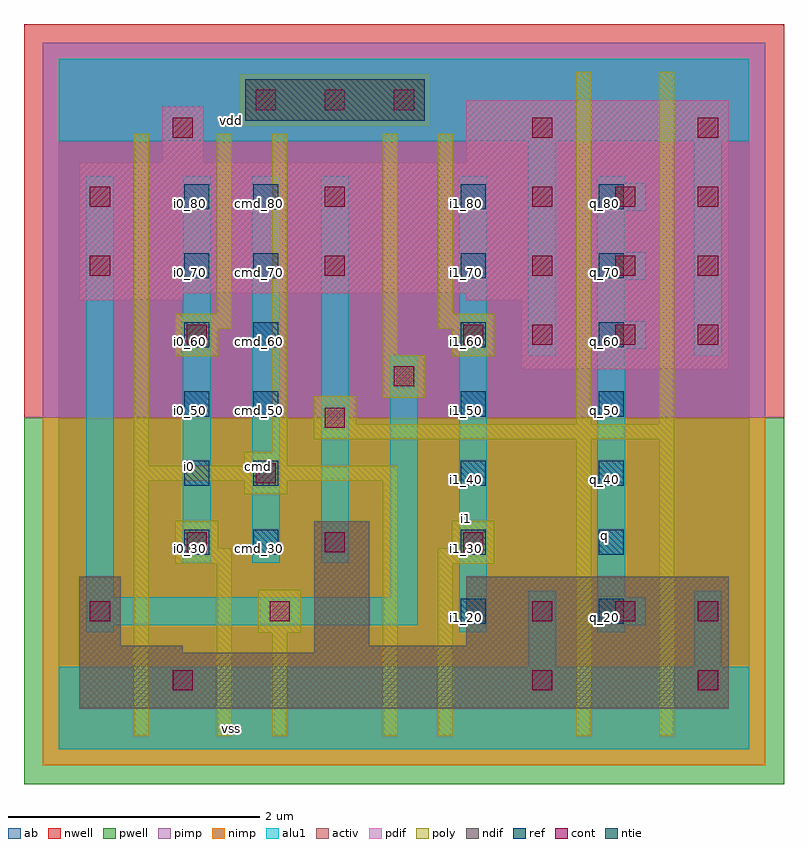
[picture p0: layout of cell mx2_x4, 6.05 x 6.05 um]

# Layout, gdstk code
import gdstk
lib = gdstk.Library(unit=1e-6, precision=2.5e-09)
def R(c, l, rs):  # rectangles x0, y0, x1, y1
    for r in rs: c.add(gdstk.rectangle(r[:2], r[2:], *l))
def A(c, l, x, y, w, h, nx, ny, dx, dy):  # array of equal rectangles
    R(c, l, [(x+i*dx, y+j*dy, x+i*dx+w, y+j*dy+h) for i in range(nx) for j in range(ny)])
ndif = (3, 0)
pdif = (4, 0)
ntie = (5, 0)
ref = (24, 0)
cont = (25, 0)
pwell = (41, 0)
nwell = (42, 0)
activ = (43, 0)
pimp = (44, 0)
nimp = (45, 0)
poly = (46, 0)
alu1 = (49, 0)
ab = (63, 0)

mx2_x4 = lib.new_cell('mx2_x4')
R(mx2_x4, ndif, [(0.165,0.33,5.335,0.77), (0.165,0.77,0.99,0.825), (2.035,0.77,5.335,0.825), (0.165,0.825,0.495,1.375), (2.035,0.825,2.475,1.815), (3.245,0.825,5.335,1.375)])
R(mx2_x4, pdif, [(3.685,3.025,5.335,3.575), (0.165,3.575,0.99,3.63), (3.245,3.575,5.335,3.63), (0.165,3.63,5.335,4.675), (0.825,4.675,1.155,5.115), (3.245,4.675,5.335,5.17)])
R(mx2_x4, ntie, [(1.485,5.005,2.915,5.335)])
A(mx2_x4, ref, 3.2, 1, 0.2, 0.2, 1, 7, 0, 0.55)
A(mx2_x4, ref, 4.3, 1, 0.2, 0.2, 1, 7, 0, 0.55)
A(mx2_x4, ref, 1, 1.55, 0.2, 0.2, 1, 6, 0, 0.55)
A(mx2_x4, ref, 1.55, 1.55, 0.2, 0.2, 1, 6, 0, 0.55)
A(mx2_x4, cont, 3.77, 1.02, 0.16, 0.16, 3, 2, 0.66, 2.2)
A(mx2_x4, cont, 1.02, 1.57, 0.16, 0.16, 3, 1, 1.1, 0)
A(mx2_x4, cont, 3.77, 3.77, 0.16, 0.16, 3, 2, 0.66, 0.55)
A(mx2_x4, cont, 1.57, 5.09, 0.16, 0.16, 3, 1, 0.55, 0)
R(mx2_x4, cont, [(0.91,0.47,1.07,0.63), (3.77,0.47,3.93,0.63), (5.09,0.47,5.25,0.63), (0.25,1.02,0.41,1.18), (1.68,1.02,1.84,1.18), (1.57,2.12,1.73,2.28), (2.12,2.56,2.28,2.72), (2.67,2.89,2.83,3.05), (1.02,3.22,1.18,3.38), (3.22,3.22,3.38,3.38), (0.25,3.77,0.41,3.93), (2.12,3.77,2.28,3.93), (0.25,4.32,0.41,4.48), (2.12,4.32,2.28,4.48), (0.91,4.87,1.07,5.03), (3.77,4.87,3.93,5.03), (5.09,4.87,5.25,5.03)])
R(mx2_x4, pwell, [(-0.275,-0.275,5.775,2.64)])
R(mx2_x4, nwell, [(-0.275,2.64,5.775,5.775)])
R(mx2_x4, activ, [(0.165,0.33,5.335,0.77), (0.165,0.77,0.99,0.825), (2.035,0.77,5.335,0.825), (0.165,0.825,0.495,1.375), (2.035,0.825,2.475,1.815), (3.245,0.825,5.335,1.375), (3.685,3.025,5.335,3.575), (0.165,3.575,0.99,3.63), (3.245,3.575,5.335,3.63), (0.165,3.63,5.335,4.675), (0.825,4.675,1.155,5.115), (3.245,4.675,5.335,5.17), (1.485,5.005,2.915,5.335)])
R(mx2_x4, pimp, [(-0.125,2.64,5.625,4.965), (-0.125,4.965,1.445,5.375), (2.955,4.965,5.625,5.375), (-0.125,5.375,5.625,5.625)])
R(mx2_x4, nimp, [(-0.125,-0.125,5.625,2.64), (1.445,4.965,2.955,5.375)])
R(mx2_x4, poly, [(0.6,0.105,0.72,2.14), (1.26,0.105,1.38,1.48), (1.7,0.105,1.82,0.93), (2.58,0.105,2.7,2.14), (3.02,0.105,3.14,1.48), (4.12,0.105,4.24,2.47), (4.78,0.105,4.9,2.47), (1.59,0.93,1.93,1.27), (0.93,1.48,1.38,1.6), (3.02,1.48,3.47,1.6), (0.93,1.6,1.27,1.82), (3.13,1.6,3.47,1.82), (1.48,2.03,1.82,2.14), (0.6,2.14,2.7,2.26), (0.6,2.26,0.72,4.9), (1.48,2.26,1.82,2.37), (1.7,2.37,1.82,4.9), (2.03,2.47,4.9,2.59), (2.03,2.59,2.37,2.81), (4.12,2.59,4.24,5.395), (4.78,2.59,4.9,5.395), (2.58,2.8,2.92,3.14), (0.93,3.13,1.27,3.35), (3.13,3.13,3.47,3.35), (2.58,3.14,2.7,4.9), (0.93,3.35,1.38,3.47), (3.02,3.35,3.47,3.47), (1.26,3.47,1.38,4.9), (3.02,3.47,3.14,4.9)])
A(mx2_x4, alu1, 0.99, 1.485, 0.22, 3.08, 3, 1, 0.55, 0)
A(mx2_x4, alu1, 4.29, 3.19, 0.385, 0.22, 1, 3, 0, 0.55)
R(mx2_x4, alu1, [(0,0,5.5,0.66), (3.74,0.66,3.96,1.265), (5.06,0.66,5.28,1.265), (0.22,0.935,0.44,0.99), (3.19,0.935,3.41,4.565), (4.29,0.935,4.51,0.99), (0.22,0.99,2.86,1.21), (4.29,0.99,4.675,1.21), (0.22,1.21,0.44,4.565), (2.64,1.21,2.86,3.135), (4.29,1.21,4.51,3.19), (3.74,3.135,3.96,4.84), (5.06,3.135,5.28,4.84), (4.29,3.41,4.51,3.74), (4.29,3.96,4.51,4.29), (4.29,4.51,4.51,4.565), (0,4.84,5.5,5.5)])
R(mx2_x4, ab, [(0,0,5.5,5.5)])
mx2_x4.add(gdstk.Label('vss', (1.375,0.165), layer=49, texttype=0))
mx2_x4.add(gdstk.Label('q', (4.345,1.705), layer=49, texttype=0))
mx2_x4.add(gdstk.Label('i1', (3.245,1.8425), layer=49, texttype=0))
mx2_x4.add(gdstk.Label('cmd', (1.595,2.255), layer=49, texttype=0))
mx2_x4.add(gdstk.Label('i0', (1.045,2.255), layer=49, texttype=0))
mx2_x4.add(gdstk.Label('vdd', (1.375,5.005), layer=49, texttype=0))
mx2_x4.add(gdstk.Label('cmd_30', (1.6,1.6), layer=24, texttype=0))
mx2_x4.add(gdstk.Label('cmd_40', (1.6,2.15), layer=24, texttype=0))
mx2_x4.add(gdstk.Label('cmd_50', (1.6,2.7), layer=24, texttype=0))
mx2_x4.add(gdstk.Label('cmd_60', (1.6,3.25), layer=24, texttype=0))
mx2_x4.add(gdstk.Label('cmd_70', (1.6,3.8), layer=24, texttype=0))
mx2_x4.add(gdstk.Label('cmd_80', (1.6,4.35), layer=24, texttype=0))
mx2_x4.add(gdstk.Label('q_50', (4.35,2.7), layer=24, texttype=0))
mx2_x4.add(gdstk.Label('q_70', (4.35,3.8), layer=24, texttype=0))
mx2_x4.add(gdstk.Label('q_80', (4.35,4.35), layer=24, texttype=0))
mx2_x4.add(gdstk.Label('q_30', (4.35,1.6), layer=24, texttype=0))
mx2_x4.add(gdstk.Label('q_40', (4.35,2.15), layer=24, texttype=0))
mx2_x4.add(gdstk.Label('q_60', (4.35,3.25), layer=24, texttype=0))
mx2_x4.add(gdstk.Label('q_20', (4.35,1.05), layer=24, texttype=0))
mx2_x4.add(gdstk.Label('i0_30', (1.05,1.6), layer=24, texttype=0))
mx2_x4.add(gdstk.Label('i0_40', (1.05,2.15), layer=24, texttype=0))
mx2_x4.add(gdstk.Label('i0_50', (1.05,2.7), layer=24, texttype=0))
mx2_x4.add(gdstk.Label('i0_60', (1.05,3.25), layer=24, texttype=0))
mx2_x4.add(gdstk.Label('i0_70', (1.05,3.8), layer=24, texttype=0))
mx2_x4.add(gdstk.Label('i0_80', (1.05,4.35), layer=24, texttype=0))
mx2_x4.add(gdstk.Label('i1_20', (3.25,1.05), layer=24, texttype=0))
mx2_x4.add(gdstk.Label('i1_30', (3.25,1.6), layer=24, texttype=0))
mx2_x4.add(gdstk.Label('i1_40', (3.25,2.15), layer=24, texttype=0))
mx2_x4.add(gdstk.Label('i1_50', (3.25,2.7), layer=24, texttype=0))
mx2_x4.add(gdstk.Label('i1_60', (3.25,3.25), layer=24, texttype=0))
mx2_x4.add(gdstk.Label('i1_70', (3.25,3.8), layer=24, texttype=0))
mx2_x4.add(gdstk.Label('i1_80', (3.25,4.35), layer=24, texttype=0))

lib.write_gds('mx2_x4.gds')
